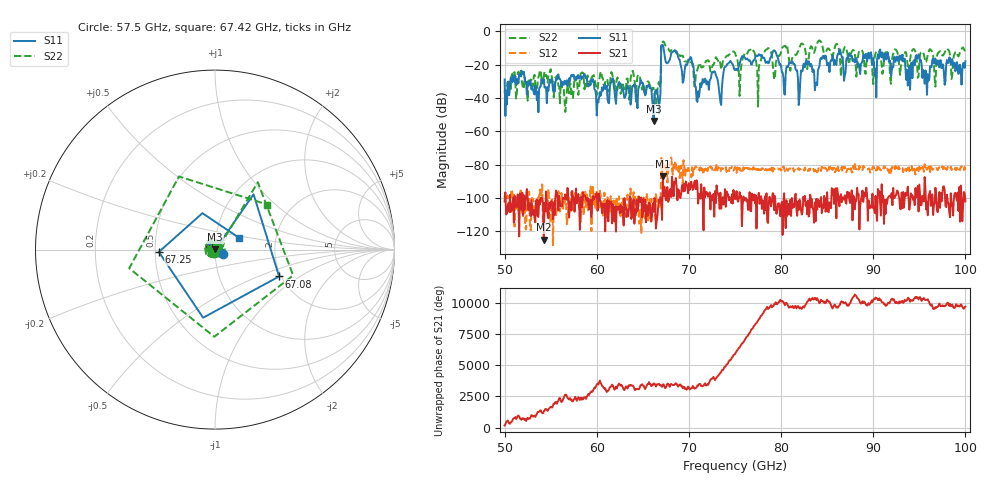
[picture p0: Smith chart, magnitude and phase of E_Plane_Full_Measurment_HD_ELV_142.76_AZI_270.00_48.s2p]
! 11/26/2026 3:40:48 PM
! C:\ANRITSUVNA\TEMP\TEMP.S2P
! CHANNEL.1
! TR.MEASUREMENT
! RAW.DATA
# HZ S RI R 50.0
! FREQ.HZ  S11RE  S11IM  S21RE  S21IM  S12RE  S12IM  S22RE  S22IM
!; PortSelection: Port_12
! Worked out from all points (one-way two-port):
!   601 points, 50 GHz to 100 GHz, reference 50 ohm
!   highest |S21| = -86.91 dB at 67.17 GHz (marker M1); lowest = -124.9 dB at 54.25 GHz (marker M2)
!   lowest |S11| = -53.9 dB at 66.17 GHz (marker M3), VSWR 1.00, Z = 50.1 + j0.147 ohm
!   |S11| at or under -10 dB: start of sweep to 67 GHz; 67.25 GHz to end of sweep
!   |S22| runs from -48.4 to -5.6 dB; largest |S21 - S12| = 0.0002
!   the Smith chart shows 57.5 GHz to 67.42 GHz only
!   S11 on the Smith chart (normalised r, x): 57.5 GHz: 1.09, -0.05; 67.08 GHz: 1.95, -0.69; 67.25 GHz: 0.52, -0.02; 67.42 GHz: 1.29, +0.18
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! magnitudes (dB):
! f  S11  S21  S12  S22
! 50 GHz  -28.9  -102.0  -98.4  -35.6
! 54.25 GHz  -28.9  -124.9  -114.6  -26.9
! 57.5 GHz  -26.1  -99.6  -100.0  -34.6
! 58.42 GHz  -27.1  -105.5  -96.6  -24.8
! 60.17 GHz  -42.7  -102.9  -98.5  -30.4
! 66.17 GHz  -53.9  -107.7  -102.6  -34.0
! 66.67 GHz  -41.5  -105.1  -101.0  -31.6
! 67.08 GHz  -8.2  -113.2  -87.6  -6.8
! 67.17 GHz  -8.3  -86.9  -76.2  -6.3
! 67.25 GHz  -10.1  -99.0  -82.9  -6.2
! 67.42 GHz  -16.6  -97.7  -80.5  -8.3
! 70.25 GHz  -15.9  -90.1  -87.5  -18.8
! 70.92 GHz  -42.4  -91.4  -81.4  -23.2
! 75 GHz  -23.3  -100.7  -81.4  -12.9
! 79.25 GHz  -11.5  -107.3  -82.9  -28.9
! 80.25 GHz  -27.8  -102.6  -81.0  -9.3
! 83.42 GHz  -24.5  -105.8  -83.0  -10.8
! 91.67 GHz  -16.7  -99.2  -83.1  -15.2
! 93.75 GHz  -32.6  -93.2  -82.4  -21.3
! 94.83 GHz  -15.0  -92.7  -82.0  -27.9
! 95.83 GHz  -38.2  -102.2  -83.0  -16.5
! 100 GHz  -18.0  -102.1  -83.1  -12.6
